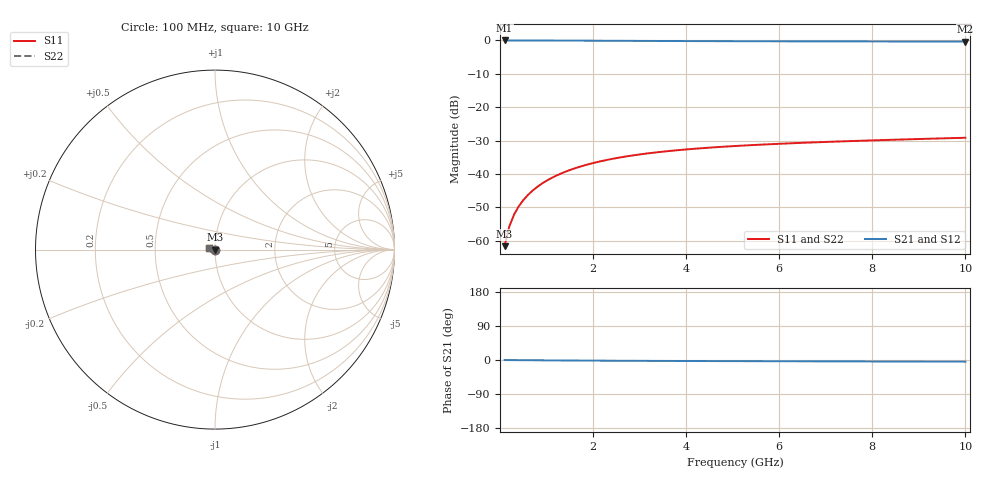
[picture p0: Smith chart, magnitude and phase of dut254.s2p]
! Touchstone file exported from HFSS 2024.1.0
!  File:  C:/UserFiles/LocalFiles/RDL_TSV_Batchsim/temp_TSV1_254_1779390780.aedt
!  Generated:  03:18:54 AM May 22, 2026
!  Design:  TSV1
!  Project:  temp_TSV1_254_1779390780
!  Setup:  Setup1
!  Solution:  Sweep
! Variables:
!  dtsv = 7.9um
!  hbump = 3um
!  htsv = 67.28um
!  lrdl = 252.1521522um
!  p = 40
!  p1 = 46.35um
!  t = 500um
!  trdl = 3um
!  wrdl = 24.89489489um
# GHz S MA R 50.000000
! Terminal data exported
! Port[1] = TSV22_T1
! Port[2] = TSV22_T2
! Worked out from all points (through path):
!   100 points, 100 MHz to 10 GHz, reference 50 ohm
!   highest |S21| = 0.00 dB at 100 MHz (marker M1); lowest = -0.3 dB at 10 GHz (marker M2)
!   lowest |S11| = -61.6 dB at 100 MHz (marker M3), VSWR 1.00, Z = 50 - j0.0813 ohm
!   |S11| at or under -10 dB: start of sweep to end of sweep
!   |S22| runs from -61.6 to -29.1 dB; largest |S21 - S12| = 3.3e-15
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0.1  0.0008332 -77.3  0.9998 -0.1  0.9998 -0.1  0.0008332 -77.3
! Gamma 0 0 0 0
! Port Impedance 50 0 50 0
0.2  0.001641 -86.2  0.9997 -0.2  0.9997 -0.2  0.001641 -86.2
0.3  0.002452 -90.5  0.9995 -0.3  0.9995 -0.3  0.002452 -90.5
0.4  0.00326 -93.6  0.9993 -0.4  0.9993 -0.4  0.00326 -93.6
0.5  0.004062 -96.1  0.9991 -0.5  0.9991 -0.5  0.004062 -96.1
0.6  0.004856 -98.5  0.9988 -0.6  0.9988 -0.6  0.004856 -98.5
0.7  0.005642 -100.6  0.9985 -0.7  0.9985 -0.7  0.005642 -100.6
0.8  0.006417 -102.7  0.9981 -0.8  0.9981 -0.8  0.006417 -102.7
0.9  0.007181 -104.7  0.9977 -0.8  0.9977 -0.8  0.007181 -104.7
1.1  0.00867 -108.5  0.9967 -1.0  0.9967 -1.0  0.00867 -108.5
1.4  0.0108 -113.9  0.9951 -1.3  0.9951 -1.3  0.0108 -113.9
1.6  0.01213 -117.3  0.9939 -1.4  0.9939 -1.4  0.01213 -117.3
1.8  0.01341 -120.6  0.9926 -1.5  0.9926 -1.5  0.01341 -120.6
2.1  0.01519 -125.2  0.9906 -1.7  0.9906 -1.7  0.01519 -125.2
2.5  0.01733 -131.1  0.988 -2.0  0.988 -2.0  0.01733 -131.1
2.9  0.01922 -136.5  0.9854 -2.2  0.9854 -2.2  0.01922 -136.5
3.4  0.02128 -142.7  0.9823 -2.4  0.9823 -2.4  0.02128 -142.7
4.2  0.02398 -151.5  0.9781 -2.7  0.9781 -2.7  0.02398 -151.5
5.1  0.0264 -159.9  0.9742 -3.0  0.9742 -3.0  0.0264 -159.9
6.7  0.02972 -172.3  0.9691 -3.5  0.9691 -3.5  0.02972 -172.3
8.4  0.03255 177.1  0.9655 -4.0  0.9655 -4.0  0.03255 177.1
10  0.03494 168.8  0.9632 -4.4  0.9632 -4.4  0.03494 168.8
